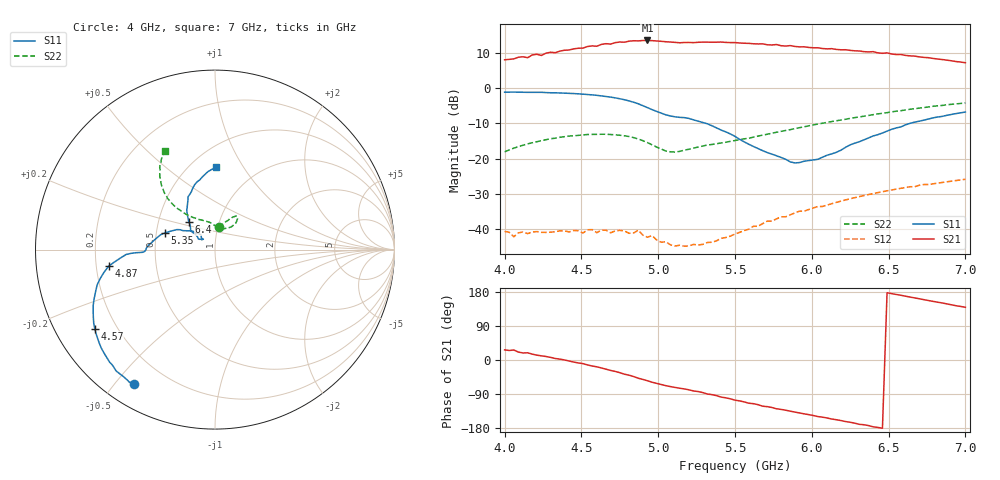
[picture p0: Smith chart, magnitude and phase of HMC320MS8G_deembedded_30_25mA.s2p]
!Hittite Microwave Corporation
!12 Elizabeth Drive
!Chelmsford, MA 01824
!Tel: 978-250-3343
!Fax: 978-250-3373
!Device: HMC320MS8G, 5-6 GHz LNA in 8-lead Grounded Base Surface Mount Plastic Package
!Misc: Room Temp Idd=25mA, VSET=3V , DEEMBEDDED TO THE PINS OF THE DEVICE
# MHZ S MA R 50
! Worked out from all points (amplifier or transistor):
!   101 points, 4 GHz to 7 GHz, reference 50 ohm
!   highest |S21| = 13.5 dB at 4.93 GHz (marker M1)
!   |S21| within 3 dB of that: 4.363 GHz to 6.312 GHz (1.95 GHz wide, 36.5 % of centre)
!   unconditionally stable (mu >= 1): start of sweep to end of sweep
!   at 4.48 GHz: K = 4.44, MAG = 16.5 dB, |S12| = -40.4 dB
!   at 5.5 GHz: K = 12.29, MAG = 13.2 dB, |S12| = -41.4 dB
!   at 7 GHz: K = 2.35, MAG = 10.0 dB, |S12| = -25.8 dB
!   S11 on the Smith chart (normalised r, x): 4 GHz: 0.09, -0.56; 4.57 GHz: 0.12, -0.30; 4.87 GHz: 0.25, -0.07; 5.35 GHz: 0.56, +0.11; 6.4 GHz: 0.72, +0.23; 7 GHz: 0.66, +0.76
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4000  0.877 -121.0  2.524 26.7  0.009306 135.2  0.125 80.3
4060  0.879 -123.1  2.597 26.3  0.007816 124.9  0.141 75.0
4120  0.874 -124.7  2.783 18.5  0.009151 134.0  0.155 71.5
4150  0.872 -126.0  2.703 19.0  0.008646 119.7  0.162 69.9
4180  0.872 -127.1  2.953 15.5  0.009121 134.3  0.168 68.6
4240  0.872 -129.2  2.907 10.9  0.009014 115.6  0.18 65.5
4270  0.865 -130.6  3.136 9.2  0.009003 129.3  0.186 64.9
4510  0.821 -142.7  3.696 -9.6  0.008825 121.8  0.217 58.8
4570  0.802 -146.7  3.972 -15.8  0.009855 115.0  0.221 57.6
4750  0.707 -160.4  4.509 -33.4  0.009631 97.0  0.215 54.1
4870  0.6 -171.1  4.678 -48.1  0.009685 72.0  0.19 52.0
4930  0.529 -174.9  4.743 -54.8  0.007705 51.6  0.169 53.1
5020  0.442 -177.8  4.609 -64.7  0.006526 12.3  0.137 60.9
5350  0.293 161.4  4.479 -91.4  0.006532 -100.1  0.159 104.0
5500  0.207 149.3  4.426 -106.0  0.008531 -106.2  0.181 114.3
5770  0.11 133.9  4.154 -128.7  0.014 -114.1  0.237 127.2
6010  0.096 143.6  3.734 -146.5  0.02 -120.0  0.301 131.9
6130  0.117 144.6  3.628 -155.8  0.023 -123.3  0.336 133.0
6400  0.21 133.7  3.291 -176.4  0.032 -132.6  0.421 131.8
6520  0.261 126.9  3.047 175.1  0.036 -136.9  0.461 130.0
6760  0.365 109.8  2.701 156.9  0.043 -146.6  0.541 124.4
7000  0.458 89.4  2.293 139.1  0.051 -156.7  0.617 117.1
